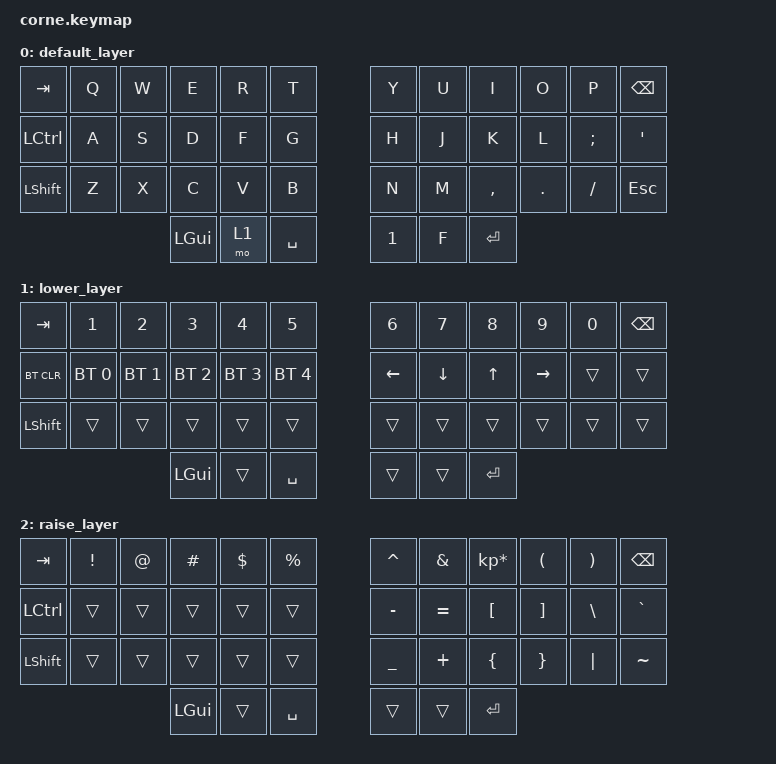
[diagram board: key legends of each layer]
/*
 * Copyright (c) 2020 The ZMK Contributors
 *
 * SPDX-License-Identifier: MIT
 */

#include <behaviors.dtsi>
#include <dt-bindings/zmk/keys.h>
#include <dt-bindings/zmk/bt.h>

#define NTIL &uc 00F1 00D1 // ñ Ñ
#define PI &uc 03C0 // π

&spi1 {
    compatible = "nordic,nrf-spim";

    /* Cannot be used together with i2c0. */

    status = "okay";
    mosi-pin = <6>;

    // Unused pins, needed for SPI definition, but not used by the ws2812 driver itself.

    sck-pin = <5>;
    miso-pin = <7>;

    led_strip: ws2812@0 {
        compatible = "worldsemi,ws2812-spi";
        label = "WS2812";

        /* SPI */

        reg = <0>;/* ignored, but necessary for SPI bindings */
        spi-max-frequency = <4000000>;

        /* WS2812 */

        chain-length = <6>;/* There are per-key RGB, but the first 6 are underglow */
        spi-one-frame = <0x70>;
        spi-zero-frame = <0x40>;
        color-mapping = <LED_COLOR_ID_GREEN LED_COLOR_ID_RED LED_COLOR_ID_BLUE>;
    };
};

/ {
    chosen {
        zmk,underglow = &led_strip;
    };
};

/ {
    combos {
        compatible = "zmk,combos";

        new_combo {
            bindings = <&trans>;
            key-positions = <27 23 37>;
            layers = <0>;
        };
    };

    macros {
        new_macro: new_macro {
            compatible = "zmk,behavior-macro";
            label = "NEW_MACRO";
            #binding-cells = <0>;
            bindings = <&caps_word &kp E &kp A &kp D &kp S>;
        };
    };

    keymap {
        compatible = "zmk,keymap";

        default_layer {
            // -----------------------------------------------------------------------------------------
            // |  TAB |  Q  |  W  |  E  |  R  |  T  |   |  Y  |  U   |  I  |  O  |  P  | BKSP |
            // | CTRL |  A  |  S  |  D  |  F  |  G  |   |  H  |  J   |  K  |  L  |  ;  |  '   |
            // | SHFT |  Z  |  X  |  C  |  V  |  B  |   |  N  |  M   |  ,  |  .  |  /  | ESC  |
            //                    | GUI | LWR | SPC |   | ENT | RSE  | ALT |

            bindings = <
  &kp TAB  &kp Q  &kp W     &kp E  &kp R      &kp T     &kp Y  &kp U      &kp I    &kp O     &kp P  &kp BSPC
&kp LCTRL  &kp A  &kp S     &kp D  &kp F      &kp G     &kp H  &kp J      &kp K    &kp L  &kp SEMI   &kp SQT
&kp LSHFT  &kp Z  &kp X     &kp C  &kp V      &kp B     &kp N  &kp M  &kp COMMA  &kp DOT  &kp FSLH   &kp ESC
                         &kp LGUI  &mo 1  &kp SPACE    &kp N1  &kp F    &kp RET
            >;
        };

        lower_layer {
            // -----------------------------------------------------------------------------------------
            // |  TAB |  1  |  2  |  3  |  4  |  5  |   |  6  |  7  |  8  |  9  |  0  | BKSP |
            // | BTCLR| BT1 | BT2 | BT3 | BT4 | BT5 |   | LFT | DWN |  UP | RGT |     |      |
            // | SHFT |     |     |     |     |     |   |     |     |     |     |     |      |
            //                    | GUI |     | SPC |   | ENT |     | ALT |

            bindings = <
   &kp TAB        &kp N1        &kp N2        &kp N3        &kp N4        &kp N5      &kp N6    &kp N7   &kp N8     &kp N9  &kp N0  &kp BSPC
&bt BT_CLR  &bt BT_SEL 0  &bt BT_SEL 1  &bt BT_SEL 2  &bt BT_SEL 3  &bt BT_SEL 4    &kp LEFT  &kp DOWN   &kp UP  &kp RIGHT  &trans    &trans
 &kp LSHFT        &trans        &trans        &trans        &trans        &trans      &trans    &trans   &trans     &trans  &trans    &trans
                                            &kp LGUI        &trans     &kp SPACE      &trans    &trans  &kp RET
            >;
        };

        raise_layer {
            // -----------------------------------------------------------------------------------------
            // |  TAB |  !  |  @  |  #  |  $  |  %  |   |  ^  |  &  |  *  |  (  |  )  | BKSP |
            // | CTRL |     |     |     |     |     |   |  -  |  =  |  [  |  ]  |  \  |  `   |
            // | SHFT |     |     |     |     |     |   |  _  |  +  |  {  |  }  | "|" |  ~   |
            //                    | GUI |     | SPC |   | ENT |     | ALT |

            bindings = <
  &kp TAB  &kp EXCL  &kp AT  &kp HASH  &kp DLLR  &kp PRCNT    &kp CARET   &kp AMPS  &kp KP_MULTIPLY  &kp LPAR  &kp RPAR   &kp BSPC
&kp LCTRL    &trans  &trans    &trans    &trans     &trans    &kp MINUS  &kp EQUAL         &kp LBKT  &kp RBKT  &kp BSLH  &kp GRAVE
&kp LSHFT    &trans  &trans    &trans    &trans     &trans    &kp UNDER   &kp PLUS         &kp LBRC  &kp RBRC  &kp PIPE  &kp TILDE
                             &kp LGUI    &trans  &kp SPACE       &trans     &trans          &kp RET
            >;
        };
    };
};
